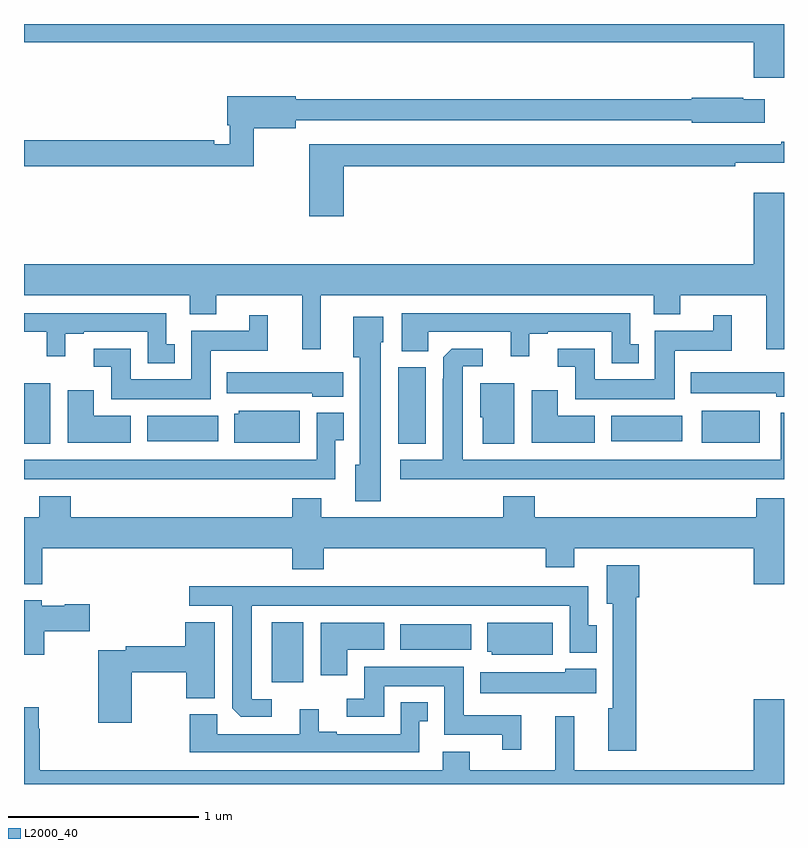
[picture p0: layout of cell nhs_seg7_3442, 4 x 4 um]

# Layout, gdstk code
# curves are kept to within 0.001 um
import gdstk
lib = gdstk.Library(unit=1e-6, precision=1e-09)
def R(c, l, rs):  # rectangles x0, y0, x1, y1
    for r in rs: c.add(gdstk.rectangle(r[:2], r[2:], *l))
def P(c, l, *ps):  # polygons
    for p in ps: c.add(gdstk.Polygon(p, *l))
L2000_40 = (2000, 40)

nhs_seg7_3442 = lib.new_cell('nhs_seg7_3442')
R(nhs_seg7_3442, L2000_40, [(330.305,1042.536,330.469,1042.852), (330.98,1042.706,331.354,1042.84), (329,1043.792,329.137,1044.109), (330.971,1043.792,331.114,1044.193), (332.567,1043.795,332.872,1043.965), (329.648,1043.804,330.022,1043.938), (332.09,1043.804,332.464,1043.938)])
P(nhs_seg7_3442, L2000_40, [(329,1045.904),(332.84,1045.904),(332.84,1045.716),(333,1045.716),(333,1046),(329,1046)],
  [(330.208,1045.451),(330.43,1045.451),(330.43,1045.494),(332.514,1045.494),(332.514,1045.481),(332.899,1045.481),(332.899,1045.603),(332.786,1045.603),(332.786,1045.611),(332.514,1045.611),(332.514,1045.603),(330.43,1045.603),(330.43,1045.621),(330.071,1045.621),(330.071,1045.467),(330.083,1045.467),(330.083,1045.368),(330.002,1045.368),(330.002,1045.388),(329,1045.388),(329,1045.252),(330.208,1045.252)],
  [(330.683,1045.252),(332.744,1045.252),(332.744,1045.271),(333,1045.271),(333,1045.381),(332.986,1045.381),(332.986,1045.368),(330.5,1045.368),(330.5,1044.987),(330.683,1044.987)],
  [(330.562,1044.572),(332.315,1044.572),(332.315,1044.473),(332.455,1044.473),(332.455,1044.572),(332.906,1044.572),(332.906,1044.288),(333,1044.288),(333,1045.111),(332.84,1045.111),(332.84,1044.736),(329,1044.736),(329,1044.572),(329.873,1044.572),(329.873,1044.473),(330.013,1044.473),(330.013,1044.572),(330.464,1044.572),(330.464,1044.288),(330.562,1044.288)],
  [(332.236,1044.315),(332.19,1044.315),(332.19,1044.477),(330.989,1044.477),(330.989,1044.278),(331.128,1044.278),(331.128,1044.381),(331.562,1044.381),(331.562,1044.252),(331.66,1044.252),(331.66,1044.369),(331.756,1044.369),(331.756,1044.381),(332.094,1044.381),(332.094,1044.215),(332.236,1044.215)],
  [(329.794,1044.315),(329.748,1044.315),(329.748,1044.477),(329,1044.477),(329,1044.381),(329.12,1044.381),(329.12,1044.252),(329.218,1044.252),(329.218,1044.369),(329.314,1044.369),(329.314,1044.381),(329.652,1044.381),(329.652,1044.215),(329.794,1044.215)],
  [(332.425,1044.281),(332.726,1044.281),(332.726,1044.466),(332.627,1044.466),(332.627,1044.385),(332.321,1044.385),(332.321,1044.13),(332.005,1044.13),(332.005,1044.291),(331.809,1044.291),(331.809,1044.195),(331.901,1044.195),(331.901,1044.026),(332.425,1044.026)],
  [(329.983,1044.281),(330.284,1044.281),(330.284,1044.466),(330.185,1044.466),(330.185,1044.385),(329.879,1044.385),(329.879,1044.13),(329.563,1044.13),(329.563,1044.291),(329.367,1044.291),(329.367,1044.195),(329.459,1044.195),(329.459,1044.026),(329.983,1044.026)],
  [(330.877,1044.324),(330.892,1044.324),(330.892,1044.46),(330.734,1044.46),(330.734,1044.246),(330.767,1044.246),(330.767,1043.679),(330.743,1043.679),(330.743,1043.489),(330.877,1043.489)],
  [(333,1043.953),(332.982,1043.953),(332.982,1043.707),(331.309,1043.707),(331.309,1044.198),(331.414,1044.198),(331.414,1044.291),(331.252,1044.291),(331.206,1044.245),(331.205,1043.707),(330.981,1043.707),(330.981,1043.603),(333,1043.603)],
  [(330.679,1044.166),(330.068,1044.166),(330.068,1044.056),(330.516,1044.056),(330.516,1044.038),(330.679,1044.038)],
  [(333,1044.166),(332.51,1044.166),(332.51,1044.056),(332.958,1044.056),(332.958,1044.038),(333,1044.038)],
  [(331.579,1044.109),(331.4,1044.109),(331.4,1043.931),(331.415,1043.931),(331.415,1043.792),(331.579,1043.792)],
  [(329.563,1043.938),(329.368,1043.938),(329.368,1044.073),(329.231,1044.073),(329.231,1043.795),(329.563,1043.795)],
  [(332.005,1043.938),(331.81,1043.938),(331.81,1044.073),(331.673,1044.073),(331.673,1043.795),(332.005,1043.795)],
  [(330.451,1043.965),(330.129,1043.965),(330.129,1043.949),(330.107,1043.949),(330.107,1043.795),(330.451,1043.795)],
  [(330.637,1043.809),(330.682,1043.809),(330.682,1043.953),(330.54,1043.953),(330.54,1043.707),(329,1043.707),(329,1043.603),(330.637,1043.603)],
  [(329.096,1043.24),(330.413,1043.24),(330.413,1043.129),(330.578,1043.129),(330.578,1043.24),(331.745,1043.24),(331.745,1043.141),(331.897,1043.141),(331.897,1043.24),(332.84,1043.24),(332.84,1043.052),(333,1043.052),(333,1043.503),(332.855,1043.503),(332.855,1043.404),(331.688,1043.404),(331.688,1043.515),(331.523,1043.515),(331.523,1043.404),(330.565,1043.404),(330.565,1043.503),(330.413,1043.503),(330.413,1043.404),(329.246,1043.404),(329.246,1043.515),(329.081,1043.515),(329.081,1043.404),(329,1043.404),(329,1043.051),(329.096,1043.051)],
  [(332.222,1042.983),(332.237,1042.983),(332.237,1043.152),(332.066,1043.152),(332.066,1042.949),(332.099,1042.949),(332.099,1042.398),(332.075,1042.398),(332.075,1042.176),(332.222,1042.176)],
  [(330.304,1042.446),(330.199,1042.446),(330.199,1042.937),(331.872,1042.937),(331.872,1042.692),(332.014,1042.692),(332.014,1042.836),(331.969,1042.836),(331.969,1043.041),(329.871,1043.041),(329.871,1042.937),(330.095,1042.937),(330.096,1042.399),(330.142,1042.353),(330.304,1042.353)],
  [(329.106,1042.805),(329.347,1042.805),(329.347,1042.947),(329.214,1042.947),(329.214,1042.939),(329.094,1042.939),(329.094,1042.966),(329,1042.966),(329,1042.68),(329.106,1042.68)],
  [(329.568,1042.588),(329.854,1042.588),(329.854,1042.451),(330.004,1042.451),(330.004,1042.852),(329.849,1042.852),(329.849,1042.724),(329.536,1042.724),(329.536,1042.704),(329.39,1042.704),(329.39,1042.323),(329.568,1042.323)],
  [(330.7,1042.706),(330.895,1042.706),(330.895,1042.849),(330.563,1042.849),(330.563,1042.572),(330.7,1042.572)],
  [(331.783,1042.849),(331.439,1042.849),(331.439,1042.695),(331.461,1042.695),(331.461,1042.679),(331.783,1042.679)],
  [(331.616,1042.363),(331.315,1042.363),(331.315,1042.618),(330.791,1042.618),(330.791,1042.449),(330.699,1042.449),(330.699,1042.353),(330.895,1042.353),(330.895,1042.514),(331.211,1042.514),(331.211,1042.259),(331.517,1042.259),(331.517,1042.179),(331.616,1042.179)],
  [(332.011,1042.606),(331.848,1042.606),(331.848,1042.588),(331.4,1042.588),(331.4,1042.478),(332.011,1042.478)],
  [(333,1042.447),(332.84,1042.447),(332.84,1042.072),(331.895,1042.072),(331.895,1042.357),(331.796,1042.357),(331.796,1042.072),(331.345,1042.072),(331.345,1042.171),(331.205,1042.171),(331.205,1042.072),(329.084,1042.072),(329.084,1042.292),(329.077,1042.292),(329.077,1042.405),(329,1042.405),(329,1042),(333,1042)],
  [(331.08,1042.329),(331.126,1042.329),(331.126,1042.429),(330.984,1042.429),(330.984,1042.263),(330.646,1042.263),(330.646,1042.276),(330.55,1042.276),(330.55,1042.393),(330.452,1042.393),(330.452,1042.263),(330.018,1042.263),(330.018,1042.366),(329.872,1042.366),(329.872,1042.167),(331.08,1042.167)])

lib.write_gds('nhs_seg7_3442.gds')
